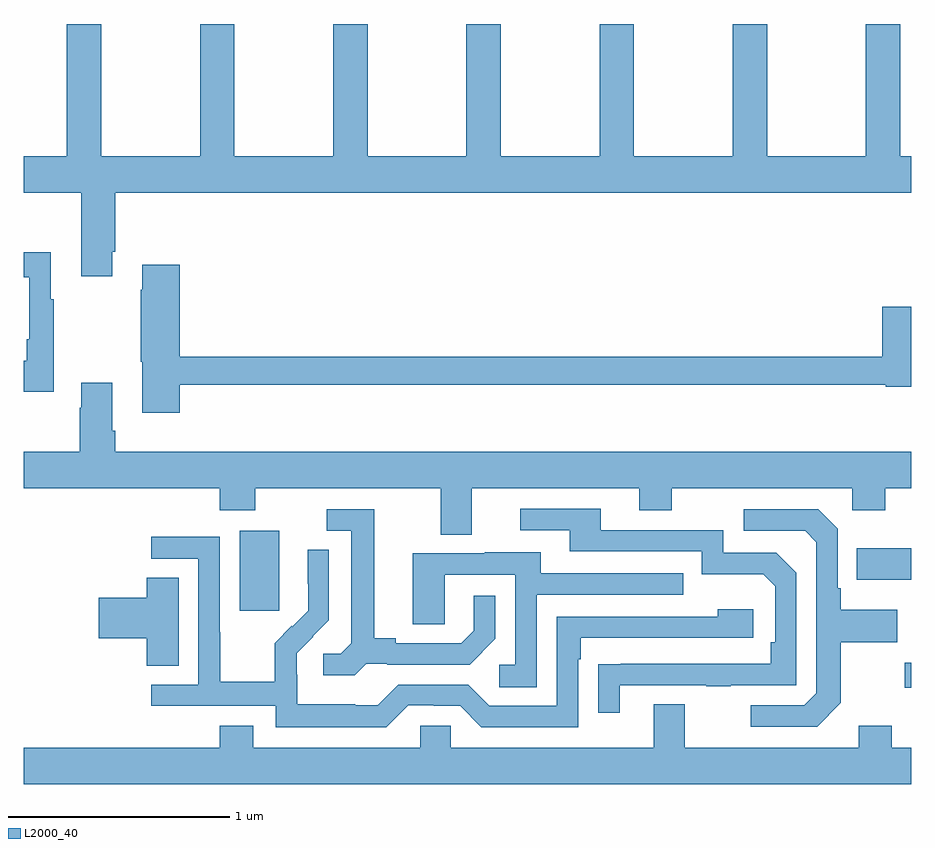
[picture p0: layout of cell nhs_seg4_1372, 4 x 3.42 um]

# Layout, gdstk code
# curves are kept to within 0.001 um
import gdstk
lib = gdstk.Library(unit=1e-6, precision=1e-09)
def R(c, l, rs):  # rectangles x0, y0, x1, y1
    for r in rs: c.add(gdstk.rectangle(r[:2], r[2:], *l))
def P(c, l, *ps):  # polygons
    for p in ps: c.add(gdstk.Polygon(p, *l))
L2000_40 = (2000, 40)

nhs_seg4_1372 = lib.new_cell('nhs_seg4_1372')
R(nhs_seg4_1372, L2000_40, [(184.971,807.909,185,808.022), (181.973,808.257,182.152,808.618), (184.753,808.397,185,808.537)])
P(nhs_seg4_1372, L2000_40, [(185,810.304),(184.95,810.304),(184.95,810.9),(184.795,810.9),(184.795,810.304),(184.35,810.304),(184.35,810.9),(184.195,810.9),(184.195,810.304),(183.75,810.304),(183.75,810.9),(183.595,810.9),(183.595,810.304),(183.15,810.304),(183.15,810.9),(182.995,810.9),(182.995,810.304),(182.55,810.304),(182.55,810.9),(182.395,810.9),(182.395,810.304),(181.95,810.304),(181.95,810.9),(181.795,810.9),(181.795,810.304),(181.35,810.304),(181.35,810.9),(181.195,810.9),(181.195,810.304),(181,810.304),(181,810.14),(181.259,810.14),(181.259,809.763),(181.399,809.763),(181.399,809.875),(181.412,809.875),(181.412,810.14),(185,810.14)],
  [(181.135,809.659),(181.123,809.659),(181.123,809.872),(181,809.872),(181,809.759),(181.026,809.759),(181.026,809.479),(181.014,809.479),(181.014,809.383),(181,809.383),(181,809.243),(181.135,809.243)],
  [(181.703,809.274),(184.884,809.274),(184.884,809.266),(185,809.266),(185,809.626),(184.868,809.626),(184.868,809.402),(181.703,809.402),(181.703,809.815),(181.535,809.815),(181.535,809.702),(181.528,809.702),(181.528,809.379),(181.535,809.379),(181.535,809.148),(181.703,809.148)],
  [(183.019,808.808),(183.773,808.808),(183.773,808.709),(183.921,808.709),(183.921,808.808),(184.734,808.808),(184.734,808.709),(184.881,808.709),(184.881,808.808),(185,808.808),(185,808.972),(181.412,808.972),(181.412,809.068),(181.399,809.068),(181.399,809.284),(181.259,809.284),(181.259,809.171),(181.252,809.171),(181.252,808.972),(181,808.972),(181,808.808),(181.883,808.808),(181.883,808.709),(182.043,808.709),(182.043,808.808),(182.879,808.808),(182.879,808.6),(183.019,808.6)],
  [(183.685,807.921),(184.075,807.921),(184.075,807.916),(184.187,807.916),(184.187,807.921),(184.482,807.921),(184.482,808.428),(184.392,808.518),(184.152,808.518),(184.152,808.62),(183.601,808.62),(183.601,808.716),(183.237,808.716),(183.237,808.62),(183.461,808.62),(183.461,808.524),(184.056,808.524),(184.056,808.421),(184.333,808.421),(184.386,808.368),(184.386,808.114),(184.366,808.114),(184.366,808.017),(183.589,808.016),(183.589,807.798),(183.685,807.798)],
  [(182.544,808.017),(182.638,808.017),(182.638,808.014),(183.01,808.014),(183.126,808.13),(183.126,808.324),(183.029,808.324),(183.029,808.167),(182.972,808.11),(182.677,808.11),(182.677,808.133),(182.581,808.133),(182.581,808.713),(182.367,808.713),(182.367,808.617),(182.477,808.617),(182.477,808.109),(182.43,808.062),(182.349,808.062),(182.349,807.965),(182.492,807.965)],
  [(184.681,807.841),(184.681,808.114),(184.937,808.114),(184.937,808.261),(184.681,808.261),(184.681,808.357),(184.668,808.357),(184.668,808.626),(184.581,808.713),(184.245,808.713),(184.245,808.617),(184.521,808.617),(184.572,808.566),(184.572,807.885),(184.518,807.831),(184.275,807.831),(184.275,807.735),(184.575,807.735)],
  [(182.733,807.831),(182.849,807.831),(182.849,807.828),(182.967,807.828),(183.063,807.732),(183.498,807.732),(183.498,808.037),(183.511,808.037),(183.511,808.134),(184.288,808.134),(184.288,808.264),(184.127,808.264),(184.127,808.23),(183.402,808.23),(183.402,807.828),(183.099,807.828),(183.003,807.924),(182.688,807.924),(182.595,807.831),(182.495,807.831),(182.495,807.835),(182.232,807.835),(182.232,807.969),(182.23,807.969),(182.23,808.066),(182.376,808.214),(182.376,808.532),(182.28,808.532),(182.28,808.378),(182.282,808.378),(182.282,808.256),(182.211,808.185),(182.208,808.188),(182.131,808.111),(182.131,807.937),(181.887,807.937),(181.887,808.16),(181.884,808.16),(181.884,808.59),(181.575,808.59),(181.575,808.491),(181.788,808.491),(181.788,807.924),(181.575,807.924),(181.575,807.828),(182.136,807.828),(182.136,807.731),(182.633,807.731)],
  [(183.312,808.329),(183.971,808.329),(183.971,808.425),(183.331,808.425),(183.331,808.519),(183.077,808.519),(183.077,808.515),(182.753,808.515),(182.753,808.195),(182.898,808.195),(182.898,808.419),(183.216,808.419),(183.216,808.014),(183.144,808.014),(183.144,807.913),(183.312,807.913)],
  [(181.699,808.406),(181.556,808.406),(181.556,808.316),(181.338,808.316),(181.338,808.133),(181.556,808.133),(181.556,808.009),(181.699,808.009)],
  [(185,807.64),(184.911,807.64),(184.911,807.739),(184.763,807.739),(184.763,807.64),(183.979,807.64),(183.979,807.835),(183.839,807.835),(183.839,807.64),(182.925,807.64),(182.925,807.738),(182.787,807.738),(182.787,807.64),(182.035,807.64),(182.035,807.739),(181.883,807.739),(181.883,807.64),(181,807.64),(181,807.476),(185,807.476)])

lib.write_gds('nhs_seg4_1372.gds')
